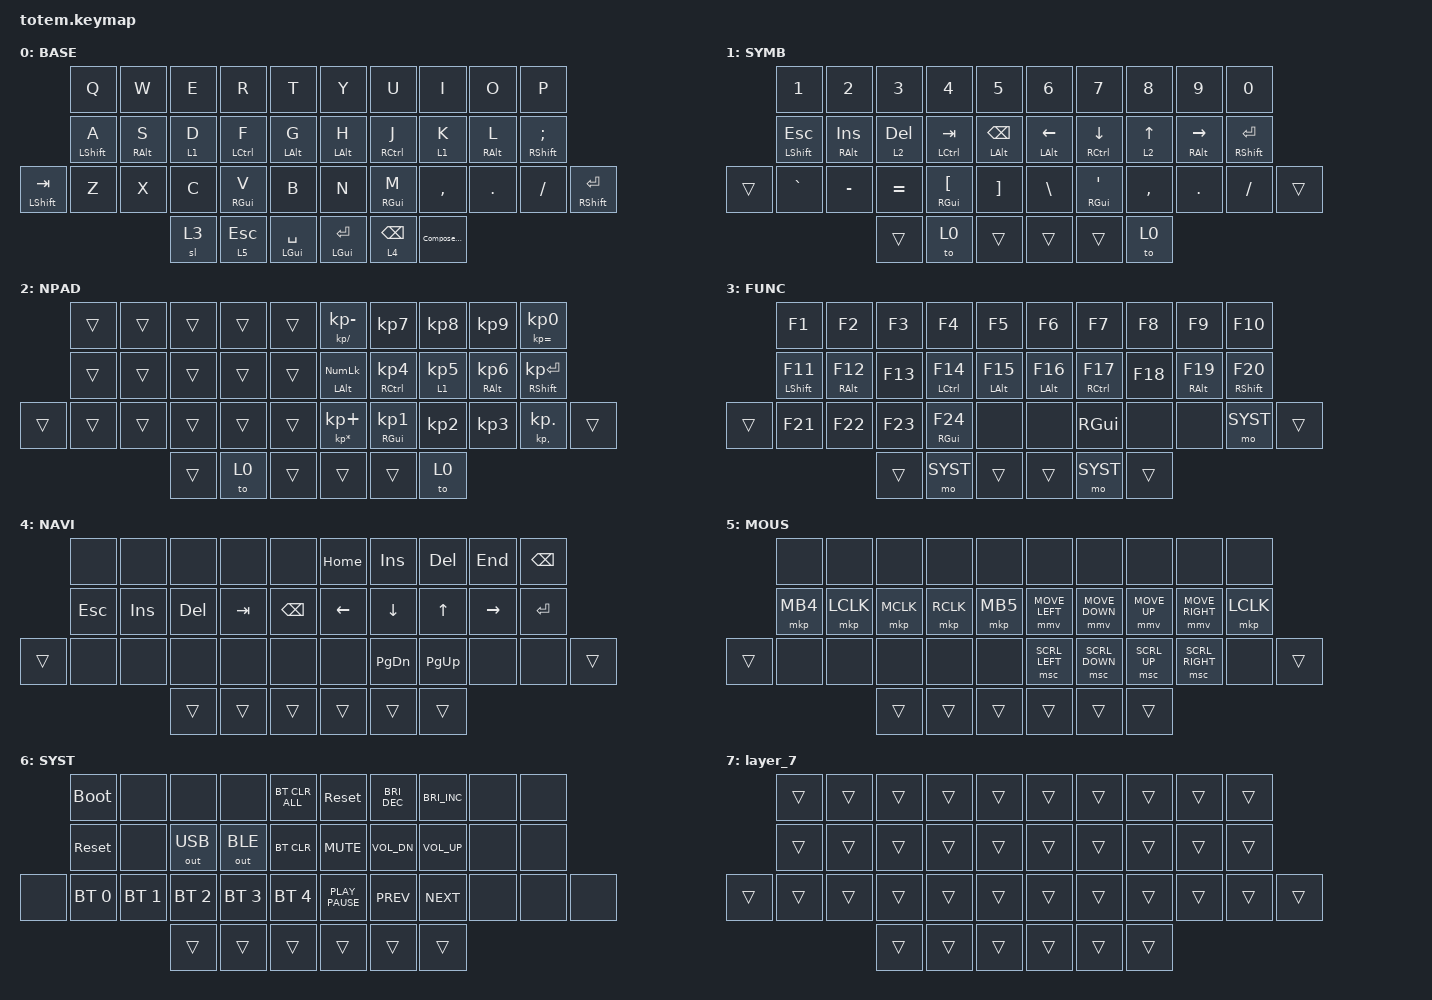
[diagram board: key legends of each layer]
//
//                                                        ▀▀▀▀▀     ▀▀▀▀▀          ▀▀█▀▀
//                                                        ▄▀▀▀▄  ▄  ▄▀▀▀▄  ▄  ▄▀▀▀▄  █  ▄▀▀▀▄
//                                                        █   █  █  █   █  █  █   █  █  █   █
//                                                         ▀▀▀   █   ▀▀▀   █   ▀▀▀   ▀   ▀▀▀
//                                                               █      ▄▄▄█▄▄▄    █   █  
//                                                               ▀      █  █  █     █▄█
//                                                             ▀▀▀▀▀    █  █  █      ▀
//                                                                      ▀  ▀  ▀
//
// ▄▄▄▄▄▄▄▄▄▄▄▄▄▄▄▄▄▄▄▄▄▄▄▄▄▄▄▄▄▄▄▄▄▄▄▄▄▄▄▄▄▄▄▄▄▄▄▄▄▄▄▄▄▄▄▄▄▄▄▄▄▄▄▄▄▄▄▄▄▄▄▄▄▄▄▄▄▄▄▄▄▄▄▄▄▄▄▄▄▄▄▄▄▄▄▄▄▄▄▄▄▄▄▄▄▄▄▄▄▄▄▄▄▄▄▄▄▄▄▄▄▄▄▄▄▄▄▄▄▄▄▄▄▄▄▄▄▄▄▄▄▄▄▄▄▄▄▄▄

#include <behaviors.dtsi>
#include <dt-bindings/zmk/bt.h>
#include <dt-bindings/zmk/keys.h>
#include <dt-bindings/zmk/outputs.h>
#include <dt-bindings/zmk/pointing.h>

#define KEYS_L 0 1 2 3 4  10 11 12 13 14  20 21 22 23 24 25  32 33 34 // left hand
#define KEYS_R 5 6 7 8 9  15 16 17 18 19  26 27 28 29 30 31  35 36 37 // right hand
#define BASE  0
#define SYMB  1
#define NPAD  2
#define FUNC  3
#define NAVI  4
#define MOUS  5
#define SYST  6

/ {
    combos {
        compatible = "zmk,combos";

        combo_caps2 {
            timeout-ms = <100>;
            key-positions = <20 31>; // Combo `right-shift+left-shift`
            bindings = <&kp CAPSLOCK>;
        };

        combo_npad {
            timeout-ms = <100>;
            key-positions = <28 29>; // Combo `,+.`
            bindings = <&to NPAD>;
        };

        combo_boot_left {
            timeout-ms = <100>;
            key-positions = <0 1 2 4>; // Combo `Q+W+E+T`
            bindings = <&bootloader>;
        };

        combo_boot_right {
            timeout-ms = <100>;
            key-positions = <5 7 8 9>; // Combo `Y+I+O+P`
            bindings = <&bootloader>;
        };

        combo_caps_v_esc {
            // Port of qmk-vial-src-musclememory-cheapino2 v1.6.0: V+Esc ->
            // Caps Lock. Replaces combo_caps1 (fn+compose) and
            // combo_sys_left (v+space), both now redundant since SYST is
            // reached via the FUNC layer's own thumb keys instead (see
            // func layer below).
            timeout-ms = <100>;
            key-positions = <24 33>; // Combo `v + thumb ESC`
            bindings = <&kp CAPSLOCK>;
        };

        combo_symbol_m_bspc {
            // Port of qmk-vial-src-musclememory-cheapino2 v1.6.0: M+Backspace
            // -> symbol layer. Replaces combo_symbol (esc+backspace) and
            // combo_sys_right (m+space), both now redundant for the same
            // reason as above.
            timeout-ms = <100>;
            key-positions = <27 36>; // Combo `m + thumb Backspace`
            bindings = <&to SYMB>;
        };
    };

    behaviors {
        hml: home_row_mod_left {
            compatible = "zmk,behavior-hold-tap";
            #binding-cells = <2>;
            flavor = "balanced";
            require-prior-idle-ms = <150>;
            tapping-term-ms = <280>;
            quick-tap-ms = <175>;
            bindings = <&kp>, <&kp>;

            hold-trigger-key-positions = <KEYS_R>;
            hold-trigger-on-release;
        };

        hmr: home_row_mod_right {
            compatible = "zmk,behavior-hold-tap";
            #binding-cells = <2>;
            flavor = "balanced";
            require-prior-idle-ms = <150>;
            tapping-term-ms = <280>;
            quick-tap-ms = <175>;
            bindings = <&kp>, <&kp>;

            hold-trigger-key-positions = <KEYS_L>;
            hold-trigger-on-release;
        };

        hml2: home_row_mod_left2 {
            compatible = "zmk,behavior-hold-tap";
            #binding-cells = <2>;
            flavor = "balanced";
            require-prior-idle-ms = <150>;
            tapping-term-ms = <280>;
            quick-tap-ms = <175>;
            bindings = <&mo>, <&kp>;

            // KEYS_R plus 13 (F): same-hand exception so hold [D] (symbol
            // layer) + tap [F] (-> TAB on that layer) resolves instantly
            // instead of waiting out tapping-term-ms. Mirrors hmr2's J
            // exception below. Matches qmk-vial-src-musclememory-cheapino2
            // v1.5.0 chordal_hold.c's D/F exception.
            hold-trigger-key-positions = <KEYS_R 13>;
            hold-trigger-on-release;
        };

        hmr2: home_row_mod_right2 {
            compatible = "zmk,behavior-hold-tap";
            #binding-cells = <2>;
            flavor = "balanced";
            require-prior-idle-ms = <150>;
            tapping-term-ms = <500>;
            quick-tap-ms = <175>;
            bindings = <&mo>, <&kp>;

            // KEYS_L plus 16 (J): same-hand exception so hold [K] (symbol
            // layer) + tap [J] (-> DOWN on that layer) resolves instantly.
            // Mirror of hml2's F exception above, matching
            // qmk-vial-src-musclememory-cheapino2 v1.5.0 chordal_hold.c's
            // K/J exception.
            hold-trigger-key-positions = <KEYS_L 16>;
            hold-trigger-on-release;
        };

        Compose1ToNumpad: Compose1ToNumpad {
            compatible = "zmk,behavior-tap-dance";
            label = "Compose1ToNumpad";
            #binding-cells = <0>;
            bindings = <&kp K_APP>, <&to 2>;

            // Longer window so the second tap still lands despite the ~100ms
            // combo delay on the compose key (combo_caps1, position 37).
            tapping-term-ms = <350>;
        };

        npo: numpad_operator {
            // Numpad arithmetic key: tap = numpad digit/key, hold = secondary
            // operator, tap-then-hold = repeat the numpad key (quick-tap).
            compatible = "zmk,behavior-hold-tap";
            #binding-cells = <2>;
            flavor = "tap-preferred";
            tapping-term-ms = <200>;
            quick-tap-ms = <200>;
            bindings = <&kp>, <&kp>;
        };

        nbs: nav_backspace {
            // Thumb key: tap = backspace, hold = NAVI layer, tap-then-hold =
            // repeat backspace (quick-tap). Split out from hmr2 because that
            // node's quick-tap-ms (175ms, measured press-to-press) is too
            // tight for a deliberate tap-then-hold gesture and is shared with
            // the K/J chordal-hold exception, which must not change.
            compatible = "zmk,behavior-hold-tap";
            #binding-cells = <2>;
            flavor = "tap-preferred";
            tapping-term-ms = <200>;
            quick-tap-ms = <300>;
            bindings = <&mo>, <&kp>;
        };
    };

    keymap {
        compatible = "zmk,keymap";

        base_layer {
            label = "BASE";
            bindings = <
                 &kp Q          &kp W             &kp E      &kp R         &kp T              &kp Y            &kp U              &kp I              &kp O             &kp P
                 &hml LSHIFT A  &hml RIGHT_ALT S  &hml2 1 D  &hml LCTRL F  &hml LEFT_ALT G    &hmr LEFT_ALT H  &hmr RCTRL J       &hmr2 1 K          &hmr RIGHT_ALT L  &hmr RSHIFT SEMICOLON
&hml LSHIFT TAB  &kp Z          &kp X             &kp C      &hml RGUI V   &kp B              &kp N            &hmr RGUI M        &kp COMMA          &kp DOT           &kp SLASH              &hmr RSHFT ENTER
                                                  &sl 3      &lt 5 ESC     &hmr LGUI SPACE    &hmr LGUI ENTER  &nbs 4 BACKSPACE  &Compose1ToNumpad
            >;
        };

        symbols {
            label = "SYMB";
            bindings = <
        &kp NUMBER_1       &kp NUMBER_2        &kp NUMBER_3    &kp NUMBER_4            &kp N5                     &kp NUMBER_6        &kp N7                  &kp N8      &kp N9                &kp N0
        &hml LSHFT ESCAPE  &hml RIGHT_ALT INS  &hml2 2 DELETE  &hml LCTRL TAB          &hml LEFT_ALT BACKSPACE    &hmr LEFT_ALT LEFT  &hmr RCTRL DOWN         &hmr2 2 UP  &hmr RIGHT_ALT RIGHT  &hmr RSHFT ENTER
&trans  &kp GRAVE          &kp MINUS           &kp EQUAL       &hml RGUI LEFT_BRACKET  &kp RIGHT_BRACKET          &kp BACKSLASH       &hmr RGUI SINGLE_QUOTE  &kp COMMA   &kp PERIOD            &kp SLASH         &trans
                                               &trans          &to 0                   &trans                     &trans              &trans                  &to 0
            >;
        };

        numpad {
            label = "NPAD";
            bindings = <
        &trans  &trans  &trans  &trans  &trans    &npo KP_DIVIDE KP_SUBTRACT  &kp KP_NUMBER_7         &kp KP_NUMBER_8      &kp KP_NUMBER_9             &npo KP_EQUAL KP_N0
        &trans  &trans  &trans  &trans  &trans    &hmr LEFT_ALT KP_NUMLOCK    &hmr RCTRL KP_NUMBER_4  &hmr2 1 KP_NUMBER_5  &hmr RIGHT_ALT KP_NUMBER_6  &hmr RSHIFT KP_ENTER
&trans  &trans  &trans  &trans  &trans  &trans    &npo KP_MULTIPLY KP_PLUS    &hmr RGUI KP_NUMBER_1   &kp KP_NUMBER_2      &kp KP_NUMBER_3             &npo KP_COMMA KP_DOT    &trans
                                &trans  &to 0     &trans    &trans  &trans  &to 0
            >;
        };

        func {
            label = "FUNC";
            bindings = <
        &kp F1           &kp F2              &kp F3   &kp F4          &kp F5               &kp F6             &kp F7          &kp F8   &kp F9              &kp F10
        &hml LSHIFT F11  &hml RIGHT_ALT F12  &kp F13  &hml LCTRL F14  &hml LEFT_ALT F15    &hmr LEFT_ALT F16  &hmr RCTRL F17  &kp F18  &hmr RIGHT_ALT F19  &hmr RSHIFT F20
&trans  &kp F21          &kp F22             &kp F23  &hml RGUI F24   &none                &none              &kp RGUI        &none    &none               &mo SYST         &trans
                                             &trans   &mo SYST        &trans               &trans             &mo SYST        &trans
            >;
        };

        navigation {
            label = "NAVI";
            bindings = <
        &none       &none    &none    &none    &none            &kp HOME  &kp INS        &kp DEL    &kp END    &kp BACKSPACE
        &kp ESCAPE  &kp INS  &kp DEL  &kp TAB  &kp BACKSPACE    &kp LEFT  &kp DOWN       &kp UP     &kp RIGHT  &kp ENTER
&trans  &none       &none    &none    &none    &none            &none     &kp PAGE_DOWN  &kp PG_UP  &none      &none          &trans
                             &trans   &trans   &trans           &trans    &trans         &trans
            >;
        };

        mouse {
            label = "MOUS";
            bindings = <
        &none     &none      &none      &none      &none       &none           &none           &none         &none            &none
        &mkp MB4  &mkp LCLK  &mkp MCLK  &mkp RCLK  &mkp MB5    &mmv MOVE_LEFT  &mmv MOVE_DOWN  &mmv MOVE_UP  &mmv MOVE_RIGHT  &mkp LCLK
&trans  &none     &none      &none      &none      &none       &msc SCRL_LEFT  &msc SCRL_DOWN  &msc SCRL_UP  &msc SCRL_RIGHT  &none      &trans
                             &trans     &trans     &trans      &trans          &trans          &trans
            >;
        };

        system {
            label = "SYST";
            bindings = <
        &bootloader   &none         &none         &none         &bt BT_CLR_ALL  &sys_reset        &kp C_BRIGHTNESS_DEC  &kp C_BRIGHTNESS_INC  &none  &none
        &sys_reset    &none         &out OUT_USB  &out OUT_BLE  &bt BT_CLR      &kp C_MUTE        &kp C_VOL_DN          &kp C_VOL_UP          &none  &none
  &none &bt BT_SEL 0  &bt BT_SEL 1  &bt BT_SEL 2  &bt BT_SEL 3  &bt BT_SEL 4    &kp K_PLAY_PAUSE  &kp K_PREV            &kp C_NEXT            &none  &none  &none
                                             &trans        &trans        &trans          &trans            &trans                &trans
            >;
        };

        layer_7 {
            bindings = <
        &trans  &trans  &trans  &trans  &trans    &trans  &trans  &trans  &trans  &trans
        &trans  &trans  &trans  &trans  &trans    &trans  &trans  &trans  &trans  &trans
&trans  &trans  &trans  &trans  &trans  &trans    &trans  &trans  &trans  &trans  &trans  &trans
                        &trans  &trans  &trans    &trans  &trans  &trans
            >;
        };
    };
};
